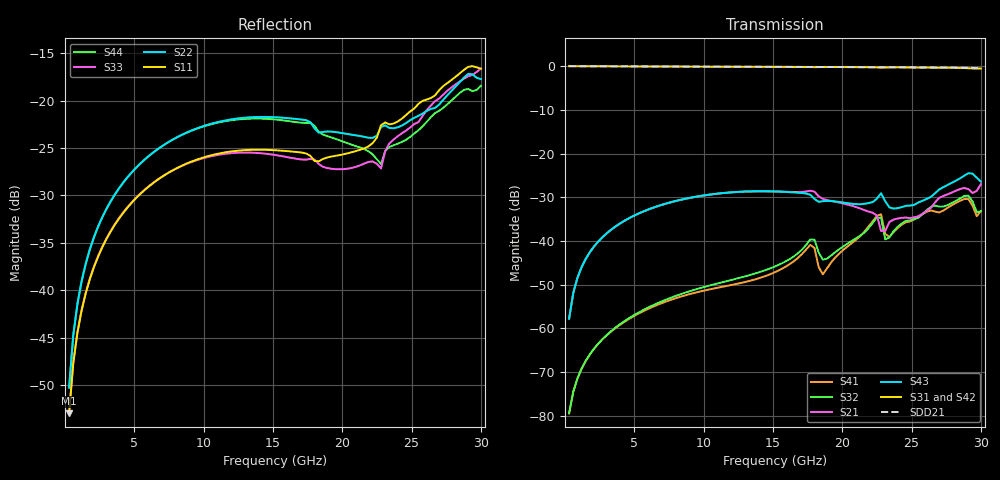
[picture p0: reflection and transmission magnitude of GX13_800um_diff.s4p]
! Created Thu Apr 22 12:55:37 2021
! List of port names and net name(s): example Port n = <port_name> <net_name1> <net_name2> ...
! Port 1 = P1 P3 gnd!
! Port 2 = P2 N__0 gnd!
! Port 3 = P3 P3 P7
! Port 4 = P4 N__0 P8
# hz S ri R 50
! 4 Port Network Data from data block
! freq  reS11  imS11  reS12  imS12  reS13  imS13  reS14  imS14
!  reS21  imS21  reS22  imS22  reS23  imS23  reS24  imS24
!  reS31  imS31  reS32  imS32  reS33  imS33  reS34  imS34
!  reS41  imS41  reS42  imS42  reS43  imS43  reS44  imS44
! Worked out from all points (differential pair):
!   100 points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, 300 MHz to 30 GHz, reference 50 ohm
!   strongest paths, dB at 300 MHz, 7.8 GHz, 15.3 GHz, 22.8 GHz, 30 GHz:
!     S31: 0.0, -0.1, -0.2, -0.3, -0.5
!     S42: 0.0, -0.1, -0.2, -0.3, -0.5
!     S43: -57.8, -31.0, -28.7, -29.1, -26.4
!     S21: -57.8, -31.0, -28.7, -37.7, -27.0
!     S32: -79.5, -52.8, -45.6, -34.7, -33.2
!     S41: -79.5, -53.3, -46.9, -33.9, -33.2
!   taken as a pair (ports 1,2 in; 3,4 out), SDD21 dB: 0.0, -0.1, -0.2, -0.2, -0.5
!   lowest |S11| = -53.0 dB at 300 MHz (marker M1), VSWR 1.00, Z = 50.1 + j0.216 ohm
!   |S11| at or under -10 dB: start of sweep to end of sweep
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3e8  0.000603 0.00216  0.000105 0.00128  0.9986 -0.0313  -4.19e-05 -9.77e-05
     0.000105 0.00128  0.000634 0.003  -4.18e-05 -9.78e-05  0.9985 -0.0316
     0.9986 -0.0313  -4.18e-05 -9.78e-05  0.00062 0.00216  8.37e-05 0.00129
     -4.19e-05 -9.77e-05  0.9985 -0.0316  8.37e-05 0.00129  0.000652 0.003
2.1e9  0.00312 0.0129  0.0025 0.00826  0.9735 -0.2118  -0.000317 -0.000489
       0.0025 0.00826  0.00437 0.0186  -0.000316 -0.000493  0.9731 -0.2134
       0.9735 -0.2118  -0.000316 -0.000493  0.00398 0.0128  0.00156 0.0085
       -0.000317 -0.000489  0.9731 -0.2134  0.00156 0.0085  0.00528 0.0184
6.6e9  0.0193 0.0326  0.0188 0.016  0.778 -0.613  -0.00179 -0.000414
       0.0188 0.016  0.03 0.0459  -0.00186 -0.000461  0.7745 -0.6162
       0.778 -0.613  -0.00186 -0.000461  0.0264 0.0273  0.012 0.0216
       -0.00179 -0.000414  0.7745 -0.6162  0.012 0.0216  0.0373 0.0403
1.74e10  0.0445 0.028  0.0252 -0.0268  -0.1843 -0.9601  -0.00698 0.00389
         0.0252 -0.0268  0.0759 0.0211  -0.00767 0.00476  -0.1933 -0.9558
         -0.1843 -0.9601  -0.00767 0.00476  0.0327 -0.0363  0.0325 0.0125
         -0.00698 0.00389  -0.1933 -0.9558  0.0325 0.0125  0.0624 -0.0438
1.86e10  0.0379 0.0313  0.0123 -0.0276  -0.2967 -0.93  -0.00307 0.0028
         0.0123 -0.0276  0.0651 0.0208  -0.00338 0.00505  -0.3026 -0.9258
         -0.2967 -0.93  -0.00338 0.00505  0.0158 -0.0419  0.0258 0.012
         -0.00307 0.0028  -0.3026 -0.9258  0.0258 0.012  0.042 -0.0512
2.31e10  0.043 0.0635  -0.00576 -0.0116  -0.6719 -0.692  -0.00257 0.0117
         -0.00576 -0.0116  0.0629 0.0392  -0.0015 0.0103  -0.6796 -0.6863
         -0.6719 -0.692  -0.0015 0.0103  -0.0408 -0.0357  0.0254 0.0128
         -0.00257 0.0117  -0.6796 -0.6863  0.0254 0.0128  -0.0208 -0.0501
3e10  0.1109 0.097  -0.0157 0.0417  -0.9365 -0.0682  -0.00192 0.0219
      -0.0157 0.0417  0.1059 0.0753  0.0035 0.0215  -0.941 -0.0616
      -0.9365 -0.0682  0.0035 0.0215  -0.1034 0.1052  0.0259 0.0401
      -0.00192 0.0219  -0.941 -0.0616  0.0259 0.0401  -0.0864 0.083
